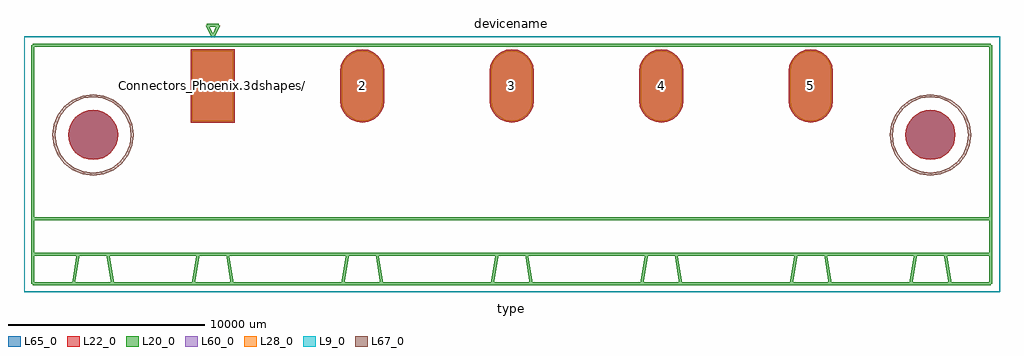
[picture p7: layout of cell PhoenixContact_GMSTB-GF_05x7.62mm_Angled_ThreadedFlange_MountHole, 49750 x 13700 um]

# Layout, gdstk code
import gdstk
lib = gdstk.Library(unit=1e-6, precision=1e-09)
def R(c, l, rs):  # rectangles x0, y0, x1, y1
    for r in rs: c.add(gdstk.rectangle(r[:2], r[2:], *l))
def P(c, l, *ps):  # polygons
    for p in ps: c.add(gdstk.Polygon(p, *l))
L9_0 = (9, 0)
L20_0 = (20, 0)
L22_0 = (22, 0)
L28_0 = (28, 0)
L60_0 = (60, 0)
L65_0 = (65, 0)
L67_0 = (67, 0)

phoenixcontact_gmstb_gf_ = lib.new_cell('PhoenixContact_GMSTB-GF_05x7.62mm_Angled_ThreadedFlange_MountHole')
R(phoenixcontact_gmstb_gf_, L22_0, [(-1125,-1875,1125,1875)])
P(phoenixcontact_gmstb_gf_, L22_0, [(37855,-2500),(37830.501,-2251.26),(37757.946,-2012.079),(37640.124,-1791.648),(37481.561,-1598.439),(37288.352,-1439.876),(37067.921,-1322.054),(36828.74,-1249.499),(36580,-1225),(36331.26,-1249.499),(36092.079,-1322.054),(35871.648,-1439.876),(35678.439,-1598.439),(35519.876,-1791.648),(35402.054,-2012.079),(35329.499,-2251.26),(35305,-2500),(35329.499,-2748.74),(35402.054,-2987.921),(35519.876,-3208.352),(35678.439,-3401.561),(35871.648,-3560.124),(36092.079,-3677.946),(36331.26,-3750.501),(36580,-3775),(36828.74,-3750.501),(37067.921,-3677.946),(37288.352,-3560.124),(37481.561,-3401.561),(37640.124,-3208.352),(37757.946,-2987.921),(37830.501,-2748.74)],
  [(-4825,-2500),(-4849.499,-2251.26),(-4922.054,-2012.079),(-5039.876,-1791.648),(-5198.439,-1598.439),(-5391.648,-1439.876),(-5612.079,-1322.054),(-5851.26,-1249.499),(-6100,-1225),(-6348.74,-1249.499),(-6587.921,-1322.054),(-6808.352,-1439.876),(-7001.561,-1598.439),(-7160.124,-1791.648),(-7277.946,-2012.079),(-7350.501,-2251.26),(-7375,-2500),(-7350.501,-2748.74),(-7277.946,-2987.921),(-7160.124,-3208.352),(-7001.561,-3401.561),(-6808.352,-3560.124),(-6587.921,-3677.946),(-6348.74,-3750.501),(-6100,-3775),(-5851.26,-3750.501),(-5612.079,-3677.946),(-5391.648,-3560.124),(-5198.439,-3401.561),(-5039.876,-3208.352),(-4922.054,-2987.921),(-4849.499,-2748.74)],
  [(30480,-1875),(30771.171,-1836.667),(31042.5,-1724.279),(31275.495,-1545.495),(31454.279,-1312.5),(31566.667,-1041.171),(31605,-750),(31605,750),(31566.667,1041.171),(31454.279,1312.5),(31275.495,1545.495),(31042.5,1724.279),(30771.171,1836.667),(30480,1875),(30188.829,1836.667),(29917.5,1724.279),(29684.505,1545.495),(29505.721,1312.5),(29393.333,1041.171),(29355,750),(29355,-750),(29393.333,-1041.171),(29505.721,-1312.5),(29684.505,-1545.495),(29917.5,-1724.279),(30188.829,-1836.667)],
  [(22860,-1875),(23151.171,-1836.667),(23422.5,-1724.279),(23655.495,-1545.495),(23834.279,-1312.5),(23946.667,-1041.171),(23985,-750),(23985,750),(23946.667,1041.171),(23834.279,1312.5),(23655.495,1545.495),(23422.5,1724.279),(23151.171,1836.667),(22860,1875),(22568.829,1836.667),(22297.5,1724.279),(22064.505,1545.495),(21885.721,1312.5),(21773.333,1041.171),(21735,750),(21735,-750),(21773.333,-1041.171),(21885.721,-1312.5),(22064.505,-1545.495),(22297.5,-1724.279),(22568.829,-1836.667)],
  [(15240,-1875),(15531.171,-1836.667),(15802.5,-1724.279),(16035.495,-1545.495),(16214.279,-1312.5),(16326.667,-1041.171),(16365,-750),(16365,750),(16326.667,1041.171),(16214.279,1312.5),(16035.495,1545.495),(15802.5,1724.279),(15531.171,1836.667),(15240,1875),(14948.829,1836.667),(14677.5,1724.279),(14444.505,1545.495),(14265.721,1312.5),(14153.333,1041.171),(14115,750),(14115,-750),(14153.333,-1041.171),(14265.721,-1312.5),(14444.505,-1545.495),(14677.5,-1724.279),(14948.829,-1836.667)],
  [(7620,-1875),(7911.171,-1836.667),(8182.5,-1724.279),(8415.495,-1545.495),(8594.279,-1312.5),(8706.667,-1041.171),(8745,-750),(8745,750),(8706.667,1041.171),(8594.279,1312.5),(8415.495,1545.495),(8182.5,1724.279),(7911.171,1836.667),(7620,1875),(7328.829,1836.667),(7057.5,1724.279),(6824.505,1545.495),(6645.721,1312.5),(6533.333,1041.171),(6495,750),(6495,-750),(6533.333,-1041.171),(6645.721,-1312.5),(6824.505,-1545.495),(7057.5,-1724.279),(7328.829,-1836.667)])
R(phoenixcontact_gmstb_gf_, L28_0, [(-1050,-1800,1050,1800)])
P(phoenixcontact_gmstb_gf_, L28_0, [(30480,-1800),(30751.76,-1764.222),(31005,-1659.327),(31222.462,-1492.462),(31389.327,-1275),(31494.222,-1021.76),(31530,-750),(31530,750),(31494.222,1021.76),(31389.327,1275),(31222.462,1492.462),(31005,1659.327),(30751.76,1764.222),(30480,1800),(30208.24,1764.222),(29955,1659.327),(29737.538,1492.462),(29570.673,1275),(29465.778,1021.76),(29430,750),(29430,-750),(29465.778,-1021.76),(29570.673,-1275),(29737.538,-1492.462),(29955,-1659.327),(30208.24,-1764.222)],
  [(22860,-1800),(23131.76,-1764.222),(23385,-1659.327),(23602.462,-1492.462),(23769.327,-1275),(23874.222,-1021.76),(23910,-750),(23910,750),(23874.222,1021.76),(23769.327,1275),(23602.462,1492.462),(23385,1659.327),(23131.76,1764.222),(22860,1800),(22588.24,1764.222),(22335,1659.327),(22117.538,1492.462),(21950.673,1275),(21845.778,1021.76),(21810,750),(21810,-750),(21845.778,-1021.76),(21950.673,-1275),(22117.538,-1492.462),(22335,-1659.327),(22588.24,-1764.222)],
  [(15240,-1800),(15511.76,-1764.222),(15765,-1659.327),(15982.462,-1492.462),(16149.327,-1275),(16254.222,-1021.76),(16290,-750),(16290,750),(16254.222,1021.76),(16149.327,1275),(15982.462,1492.462),(15765,1659.327),(15511.76,1764.222),(15240,1800),(14968.24,1764.222),(14715,1659.327),(14497.538,1492.462),(14330.673,1275),(14225.778,1021.76),(14190,750),(14190,-750),(14225.778,-1021.76),(14330.673,-1275),(14497.538,-1492.462),(14715,-1659.327),(14968.24,-1764.222)],
  [(7620,-1800),(7891.76,-1764.222),(8145,-1659.327),(8362.462,-1492.462),(8529.327,-1275),(8634.222,-1021.76),(8670,-750),(8670,750),(8634.222,1021.76),(8529.327,1275),(8362.462,1492.462),(8145,1659.327),(7891.76,1764.222),(7620,1800),(7348.24,1764.222),(7095,1659.327),(6877.538,1492.462),(6710.673,1275),(6605.778,1021.76),(6570,750),(6570,-750),(6605.778,-1021.76),(6710.673,-1275),(6877.538,-1492.462),(7095,-1659.327),(7348.24,-1764.222)])
R(phoenixcontact_gmstb_gf_, L60_0, [(-1050,-1800,1050,1800)])
P(phoenixcontact_gmstb_gf_, L60_0, [(30480,-1800),(30751.76,-1764.222),(31005,-1659.327),(31222.462,-1492.462),(31389.327,-1275),(31494.222,-1021.76),(31530,-750),(31530,750),(31494.222,1021.76),(31389.327,1275),(31222.462,1492.462),(31005,1659.327),(30751.76,1764.222),(30480,1800),(30208.24,1764.222),(29955,1659.327),(29737.538,1492.462),(29570.673,1275),(29465.778,1021.76),(29430,750),(29430,-750),(29465.778,-1021.76),(29570.673,-1275),(29737.538,-1492.462),(29955,-1659.327),(30208.24,-1764.222)],
  [(22860,-1800),(23131.76,-1764.222),(23385,-1659.327),(23602.462,-1492.462),(23769.327,-1275),(23874.222,-1021.76),(23910,-750),(23910,750),(23874.222,1021.76),(23769.327,1275),(23602.462,1492.462),(23385,1659.327),(23131.76,1764.222),(22860,1800),(22588.24,1764.222),(22335,1659.327),(22117.538,1492.462),(21950.673,1275),(21845.778,1021.76),(21810,750),(21810,-750),(21845.778,-1021.76),(21950.673,-1275),(22117.538,-1492.462),(22335,-1659.327),(22588.24,-1764.222)],
  [(15240,-1800),(15511.76,-1764.222),(15765,-1659.327),(15982.462,-1492.462),(16149.327,-1275),(16254.222,-1021.76),(16290,-750),(16290,750),(16254.222,1021.76),(16149.327,1275),(15982.462,1492.462),(15765,1659.327),(15511.76,1764.222),(15240,1800),(14968.24,1764.222),(14715,1659.327),(14497.538,1492.462),(14330.673,1275),(14225.778,1021.76),(14190,750),(14190,-750),(14225.778,-1021.76),(14330.673,-1275),(14497.538,-1492.462),(14715,-1659.327),(14968.24,-1764.222)],
  [(7620,-1800),(7891.76,-1764.222),(8145,-1659.327),(8362.462,-1492.462),(8529.327,-1275),(8634.222,-1021.76),(8670,-750),(8670,750),(8634.222,1021.76),(8529.327,1275),(8362.462,1492.462),(8145,1659.327),(7891.76,1764.222),(7620,1800),(7348.24,1764.222),(7095,1659.327),(6877.538,1492.462),(6710.673,1275),(6605.778,1021.76),(6570,750),(6570,-750),(6605.778,-1021.76),(6710.673,-1275),(6877.538,-1492.462),(7095,-1659.327),(7348.24,-1764.222)])
R(phoenixcontact_gmstb_gf_, L65_0, [(-1125,-1875,1125,1875)])
P(phoenixcontact_gmstb_gf_, L65_0, [(37855,-2500),(37830.501,-2251.26),(37757.946,-2012.079),(37640.124,-1791.648),(37481.561,-1598.439),(37288.352,-1439.876),(37067.921,-1322.054),(36828.74,-1249.499),(36580,-1225),(36331.26,-1249.499),(36092.079,-1322.054),(35871.648,-1439.876),(35678.439,-1598.439),(35519.876,-1791.648),(35402.054,-2012.079),(35329.499,-2251.26),(35305,-2500),(35329.499,-2748.74),(35402.054,-2987.921),(35519.876,-3208.352),(35678.439,-3401.561),(35871.648,-3560.124),(36092.079,-3677.946),(36331.26,-3750.501),(36580,-3775),(36828.74,-3750.501),(37067.921,-3677.946),(37288.352,-3560.124),(37481.561,-3401.561),(37640.124,-3208.352),(37757.946,-2987.921),(37830.501,-2748.74)],
  [(-4825,-2500),(-4849.499,-2251.26),(-4922.054,-2012.079),(-5039.876,-1791.648),(-5198.439,-1598.439),(-5391.648,-1439.876),(-5612.079,-1322.054),(-5851.26,-1249.499),(-6100,-1225),(-6348.74,-1249.499),(-6587.921,-1322.054),(-6808.352,-1439.876),(-7001.561,-1598.439),(-7160.124,-1791.648),(-7277.946,-2012.079),(-7350.501,-2251.26),(-7375,-2500),(-7350.501,-2748.74),(-7277.946,-2987.921),(-7160.124,-3208.352),(-7001.561,-3401.561),(-6808.352,-3560.124),(-6587.921,-3677.946),(-6348.74,-3750.501),(-6100,-3775),(-5851.26,-3750.501),(-5612.079,-3677.946),(-5391.648,-3560.124),(-5198.439,-3401.561),(-5039.876,-3208.352),(-4922.054,-2987.921),(-4849.499,-2748.74)],
  [(30480,-1875),(30771.171,-1836.667),(31042.5,-1724.279),(31275.495,-1545.495),(31454.279,-1312.5),(31566.667,-1041.171),(31605,-750),(31605,750),(31566.667,1041.171),(31454.279,1312.5),(31275.495,1545.495),(31042.5,1724.279),(30771.171,1836.667),(30480,1875),(30188.829,1836.667),(29917.5,1724.279),(29684.505,1545.495),(29505.721,1312.5),(29393.333,1041.171),(29355,750),(29355,-750),(29393.333,-1041.171),(29505.721,-1312.5),(29684.505,-1545.495),(29917.5,-1724.279),(30188.829,-1836.667)],
  [(22860,-1875),(23151.171,-1836.667),(23422.5,-1724.279),(23655.495,-1545.495),(23834.279,-1312.5),(23946.667,-1041.171),(23985,-750),(23985,750),(23946.667,1041.171),(23834.279,1312.5),(23655.495,1545.495),(23422.5,1724.279),(23151.171,1836.667),(22860,1875),(22568.829,1836.667),(22297.5,1724.279),(22064.505,1545.495),(21885.721,1312.5),(21773.333,1041.171),(21735,750),(21735,-750),(21773.333,-1041.171),(21885.721,-1312.5),(22064.505,-1545.495),(22297.5,-1724.279),(22568.829,-1836.667)],
  [(15240,-1875),(15531.171,-1836.667),(15802.5,-1724.279),(16035.495,-1545.495),(16214.279,-1312.5),(16326.667,-1041.171),(16365,-750),(16365,750),(16326.667,1041.171),(16214.279,1312.5),(16035.495,1545.495),(15802.5,1724.279),(15531.171,1836.667),(15240,1875),(14948.829,1836.667),(14677.5,1724.279),(14444.505,1545.495),(14265.721,1312.5),(14153.333,1041.171),(14115,750),(14115,-750),(14153.333,-1041.171),(14265.721,-1312.5),(14444.505,-1545.495),(14677.5,-1724.279),(14948.829,-1836.667)],
  [(7620,-1875),(7911.171,-1836.667),(8182.5,-1724.279),(8415.495,-1545.495),(8594.279,-1312.5),(8706.667,-1041.171),(8745,-750),(8745,750),(8706.667,1041.171),(8594.279,1312.5),(8415.495,1545.495),(8182.5,1724.279),(7911.171,1836.667),(7620,1875),(7328.829,1836.667),(7057.5,1724.279),(6824.505,1545.495),(6645.721,1312.5),(6533.333,1041.171),(6495,750),(6495,-750),(6533.333,-1041.171),(6645.721,-1312.5),(6824.505,-1545.495),(7057.5,-1724.279),(7328.829,-1836.667)])
phoenixcontact_gmstb_gf_.add(gdstk.FlexPath([(-300,3100),(0,2500)], 149.998, ends="flush", simple_path=True, layer=20, datatype=0))  # L20_0
phoenixcontact_gmstb_gf_.add(gdstk.FlexPath([(300,3100),(-300,3100)], 149.998, ends="flush", simple_path=True, layer=20, datatype=0))  # L20_0
phoenixcontact_gmstb_gf_.add(gdstk.FlexPath([(0,2500),(300,3100)], 149.998, ends="flush", simple_path=True, layer=20, datatype=0))  # L20_0
phoenixcontact_gmstb_gf_.add(gdstk.FlexPath([(40100,2500),(-9600,2500)], 50, ends="flush", simple_path=True, layer=9, datatype=0))  # L9_0
phoenixcontact_gmstb_gf_.add(gdstk.FlexPath([(40100,-10500),(40100,2500)], 50, ends="flush", simple_path=True, layer=9, datatype=0))  # L9_0
phoenixcontact_gmstb_gf_.add(gdstk.FlexPath([(-9600,-10500),(40100,-10500)], 50, ends="flush", simple_path=True, layer=9, datatype=0))  # L9_0
phoenixcontact_gmstb_gf_.add(gdstk.FlexPath([(-9600,2500),(-9600,-10500)], 50, ends="flush", simple_path=True, layer=9, datatype=0))  # L9_0
phoenixcontact_gmstb_gf_.add(gdstk.FlexPath([(29730,-8580),(29480,-10080)], 149.998, ends="flush", simple_path=True, layer=20, datatype=0))  # L20_0
phoenixcontact_gmstb_gf_.add(gdstk.FlexPath([(31230,-8580),(29730,-8580)], 149.998, ends="flush", simple_path=True, layer=20, datatype=0))  # L20_0
phoenixcontact_gmstb_gf_.add(gdstk.FlexPath([(31480,-10080),(31230,-8580)], 149.998, ends="flush", simple_path=True, layer=20, datatype=0))  # L20_0
phoenixcontact_gmstb_gf_.add(gdstk.FlexPath([(29480,-10080),(31480,-10080)], 149.998, ends="flush", simple_path=True, layer=20, datatype=0))  # L20_0
phoenixcontact_gmstb_gf_.add(gdstk.FlexPath([(22110,-8580),(21860,-10080)], 149.998, ends="flush", simple_path=True, layer=20, datatype=0))  # L20_0
phoenixcontact_gmstb_gf_.add(gdstk.FlexPath([(23610,-8580),(22110,-8580)], 149.998, ends="flush", simple_path=True, layer=20, datatype=0))  # L20_0
phoenixcontact_gmstb_gf_.add(gdstk.FlexPath([(23860,-10080),(23610,-8580)], 149.998, ends="flush", simple_path=True, layer=20, datatype=0))  # L20_0
phoenixcontact_gmstb_gf_.add(gdstk.FlexPath([(21860,-10080),(23860,-10080)], 149.998, ends="flush", simple_path=True, layer=20, datatype=0))  # L20_0
phoenixcontact_gmstb_gf_.add(gdstk.FlexPath([(14490,-8580),(14240,-10080)], 149.998, ends="flush", simple_path=True, layer=20, datatype=0))  # L20_0
phoenixcontact_gmstb_gf_.add(gdstk.FlexPath([(15990,-8580),(14490,-8580)], 149.998, ends="flush", simple_path=True, layer=20, datatype=0))  # L20_0
phoenixcontact_gmstb_gf_.add(gdstk.FlexPath([(16240,-10080),(15990,-8580)], 149.998, ends="flush", simple_path=True, layer=20, datatype=0))  # L20_0
phoenixcontact_gmstb_gf_.add(gdstk.FlexPath([(14240,-10080),(16240,-10080)], 149.998, ends="flush", simple_path=True, layer=20, datatype=0))  # L20_0
phoenixcontact_gmstb_gf_.add(gdstk.FlexPath([(6870,-8580),(6620,-10080)], 149.998, ends="flush", simple_path=True, layer=20, datatype=0))  # L20_0
phoenixcontact_gmstb_gf_.add(gdstk.FlexPath([(8370,-8580),(6870,-8580)], 149.998, ends="flush", simple_path=True, layer=20, datatype=0))  # L20_0
phoenixcontact_gmstb_gf_.add(gdstk.FlexPath([(8620,-10080),(8370,-8580)], 149.998, ends="flush", simple_path=True, layer=20, datatype=0))  # L20_0
phoenixcontact_gmstb_gf_.add(gdstk.FlexPath([(6620,-10080),(8620,-10080)], 149.998, ends="flush", simple_path=True, layer=20, datatype=0))  # L20_0
phoenixcontact_gmstb_gf_.add(gdstk.FlexPath([(-750,-8580),(-1000,-10080)], 149.998, ends="flush", simple_path=True, layer=20, datatype=0))  # L20_0
phoenixcontact_gmstb_gf_.add(gdstk.FlexPath([(750,-8580),(-750,-8580)], 149.998, ends="flush", simple_path=True, layer=20, datatype=0))  # L20_0
phoenixcontact_gmstb_gf_.add(gdstk.FlexPath([(1000,-10080),(750,-8580)], 149.998, ends="flush", simple_path=True, layer=20, datatype=0))  # L20_0
phoenixcontact_gmstb_gf_.add(gdstk.FlexPath([(-1000,-10080),(1000,-10080)], 149.998, ends="flush", simple_path=True, layer=20, datatype=0))  # L20_0
phoenixcontact_gmstb_gf_.add(gdstk.FlexPath([(35830,-8580),(35580,-10080)], 149.998, ends="flush", simple_path=True, layer=20, datatype=0))  # L20_0
phoenixcontact_gmstb_gf_.add(gdstk.FlexPath([(37330,-8580),(35830,-8580)], 149.998, ends="flush", simple_path=True, layer=20, datatype=0))  # L20_0
phoenixcontact_gmstb_gf_.add(gdstk.FlexPath([(37580,-10080),(37330,-8580)], 149.998, ends="flush", simple_path=True, layer=20, datatype=0))  # L20_0
phoenixcontact_gmstb_gf_.add(gdstk.FlexPath([(35580,-10080),(37580,-10080)], 149.998, ends="flush", simple_path=True, layer=20, datatype=0))  # L20_0
phoenixcontact_gmstb_gf_.add(gdstk.FlexPath([(-6850,-8580),(-7100,-10080)], 149.998, ends="flush", simple_path=True, layer=20, datatype=0))  # L20_0
phoenixcontact_gmstb_gf_.add(gdstk.FlexPath([(-5350,-8580),(-6850,-8580)], 149.998, ends="flush", simple_path=True, layer=20, datatype=0))  # L20_0
phoenixcontact_gmstb_gf_.add(gdstk.FlexPath([(-5100,-10080),(-5350,-8580)], 149.998, ends="flush", simple_path=True, layer=20, datatype=0))  # L20_0
phoenixcontact_gmstb_gf_.add(gdstk.FlexPath([(-7100,-10080),(-5100,-10080)], 149.998, ends="flush", simple_path=True, layer=20, datatype=0))  # L20_0
phoenixcontact_gmstb_gf_.add(gdstk.FlexPath([(39660,-8580),(-9180,-8580)], 149.998, ends="flush", simple_path=True, layer=20, datatype=0))  # L20_0
phoenixcontact_gmstb_gf_.add(gdstk.FlexPath([(39660,-6780),(39660,-8580)], 149.998, ends="flush", simple_path=True, layer=20, datatype=0))  # L20_0
phoenixcontact_gmstb_gf_.add(gdstk.FlexPath([(-9180,-6780),(39660,-6780)], 149.998, ends="flush", simple_path=True, layer=20, datatype=0))  # L20_0
phoenixcontact_gmstb_gf_.add(gdstk.FlexPath([(-9180,-8580),(-9180,-6780)], 149.998, ends="flush", simple_path=True, layer=20, datatype=0))  # L20_0
phoenixcontact_gmstb_gf_.add(gdstk.FlexPath([(39660,2080),(-9180,2080)], 149.998, ends="flush", simple_path=True, layer=20, datatype=0))  # L20_0
phoenixcontact_gmstb_gf_.add(gdstk.FlexPath([(39660,-10080),(39660,2080)], 149.998, ends="flush", simple_path=True, layer=20, datatype=0))  # L20_0
phoenixcontact_gmstb_gf_.add(gdstk.FlexPath([(-9180,-10080),(39660,-10080)], 149.998, ends="flush", simple_path=True, layer=20, datatype=0))  # L20_0
phoenixcontact_gmstb_gf_.add(gdstk.FlexPath([(-9180,2080),(-9180,-10080)], 149.998, ends="flush", simple_path=True, layer=20, datatype=0))  # L20_0
phoenixcontact_gmstb_gf_.add(gdstk.FlexPath([(38580,-2500),(38511.852,-1982.362),(38312.051,-1500),(37994.214,-1085.786),(37580,-767.949),(37097.638,-568.148),(36580,-500),(36062.362,-568.148),(35580,-767.949),(35165.786,-1085.786),(34847.949,-1500),(34648.148,-1982.362),(34580,-2500),(34648.148,-3017.638),(34847.949,-3500),(35165.786,-3914.214),(35580,-4232.051),(36062.362,-4431.852),(36580,-4500),(37097.638,-4431.852),(37580,-4232.051),(37994.214,-3914.214),(38312.051,-3500),(38511.852,-3017.638),(38580,-2500)], 149.998, ends="flush", simple_path=True, layer=67, datatype=0))  # L67_0
phoenixcontact_gmstb_gf_.add(gdstk.FlexPath([(-4100,-2500),(-4168.148,-1982.362),(-4367.949,-1500),(-4685.786,-1085.786),(-5100,-767.949),(-5582.362,-568.148),(-6100,-500),(-6617.638,-568.148),(-7100,-767.949),(-7514.214,-1085.786),(-7832.051,-1500),(-8031.852,-1982.362),(-8100,-2500),(-8031.852,-3017.638),(-7832.051,-3500),(-7514.214,-3914.214),(-7100,-4232.051),(-6617.638,-4431.852),(-6100,-4500),(-5582.362,-4431.852),(-5100,-4232.051),(-4685.786,-3914.214),(-4367.949,-3500),(-4168.148,-3017.638),(-4100,-2500)], 149.998, ends="flush", simple_path=True, layer=67, datatype=0))  # L67_0
phoenixcontact_gmstb_gf_.add(gdstk.Label('Connectors_Phoenix.3dshapes/PhoenixContact_GMSTB-GF_05x7.62mm_Angled_ThreadedFlange_MountHole.wrl', (0,0), layer=12, texttype=0))
phoenixcontact_gmstb_gf_.add(gdstk.Label('5', (30480,0), layer=28, texttype=0))
phoenixcontact_gmstb_gf_.add(gdstk.Label('4', (22860,0), layer=28, texttype=0))
phoenixcontact_gmstb_gf_.add(gdstk.Label('3', (15240,0), layer=28, texttype=0))
phoenixcontact_gmstb_gf_.add(gdstk.Label('2', (7620,0), layer=28, texttype=0))
phoenixcontact_gmstb_gf_.add(gdstk.Label('1', (0,0), layer=28, texttype=0))
phoenixcontact_gmstb_gf_.add(gdstk.Label('type', (15240,-11500), layer=9, texttype=0))
phoenixcontact_gmstb_gf_.add(gdstk.Label('devicename', (15240,3200), layer=9, texttype=0))

lib.write_gds('PhoenixContact_GMSTB-GF_05x7.62mm_Angled_ThreadedFlange_MountHole.gds')
